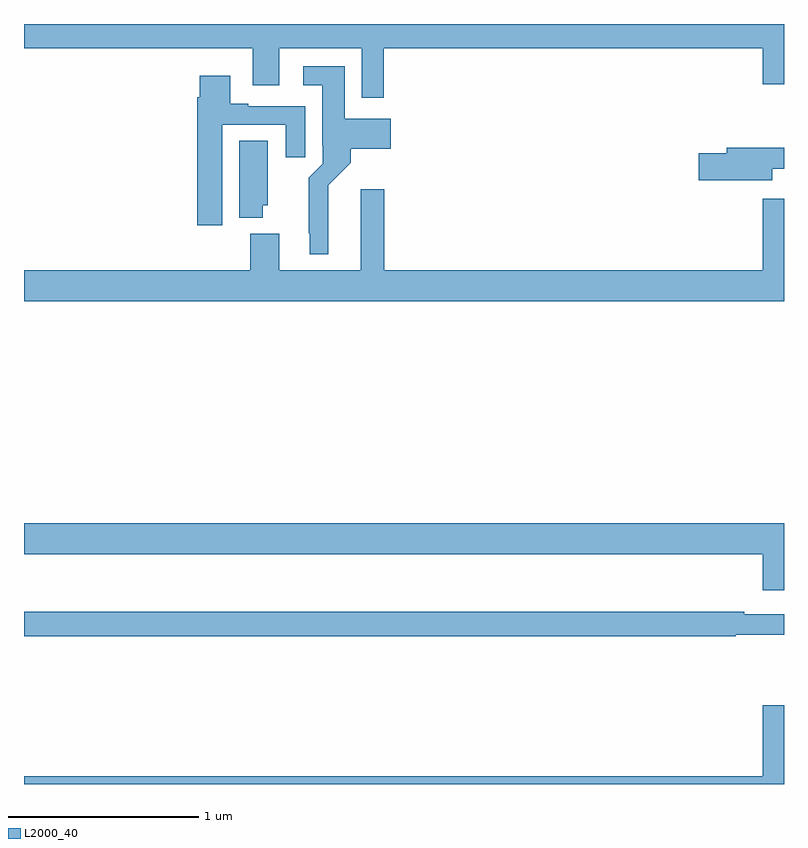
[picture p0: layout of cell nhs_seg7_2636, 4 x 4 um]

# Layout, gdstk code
import gdstk
lib = gdstk.Library(unit=1e-6, precision=1e-09)
def P(c, l, *ps):  # polygons
    for p in ps: c.add(gdstk.Polygon(p, *l))
L2000_40 = (2000, 40)

nhs_seg7_2636 = lib.new_cell('nhs_seg7_2636')
P(nhs_seg7_2636, L2000_40, [(282.893,1077.872),(284.888,1077.872),(284.888,1077.684),(285,1077.684),(285,1078),(281,1078),(281,1077.872),(282.203,1077.872),(282.203,1077.678),(282.343,1077.678),(282.343,1077.872),(282.777,1077.872),(282.777,1077.612),(282.893,1077.612)],
  [(282.601,1077.152),(282.719,1077.27),(282.719,1077.344),(282.931,1077.344),(282.931,1077.502),(282.688,1077.502),(282.688,1077.778),(282.471,1077.778),(282.471,1077.677),(282.569,1077.677),(282.569,1077.358),(282.573,1077.358),(282.573,1077.264),(282.499,1077.19),(282.499,1076.899),(282.503,1076.899),(282.503,1076.789),(282.601,1076.789)],
  [(282.043,1077.471),(282.377,1077.471),(282.377,1077.3),(282.481,1077.3),(282.481,1077.567),(282.181,1077.567),(282.181,1077.58),(282.085,1077.58),(282.085,1077.727),(281.924,1077.727),(281.924,1077.614),(281.912,1077.614),(281.912,1076.94),(282.043,1076.94)],
  [(282.256,1077.045),(282.283,1077.045),(282.283,1077.386),(282.134,1077.386),(282.134,1076.981),(282.256,1076.981)],
  [(284.938,1077.239),(285,1077.239),(285,1077.349),(284.699,1077.349),(284.699,1077.32),(284.55,1077.32),(284.55,1077.178),(284.938,1077.178)],
  [(285,1077.079),(284.888,1077.079),(284.888,1076.704),(282.896,1076.704),(282.896,1077.13),(282.773,1077.13),(282.773,1076.704),(282.343,1076.704),(282.343,1076.896),(282.191,1076.896),(282.191,1076.704),(281,1076.704),(281,1076.54),(285,1076.54)],
  [(285,1075.372),(281,1075.372),(281,1075.208),(284.888,1075.208),(284.888,1075.02),(285,1075.02)],
  [(284.746,1074.786),(285,1074.786),(285,1074.894),(284.792,1074.894),(284.792,1074.907),(281,1074.907),(281,1074.778),(284.746,1074.778)],
  [(285,1074.415),(284.888,1074.415),(284.888,1074.04),(281,1074.04),(281,1074),(285,1074)])

lib.write_gds('nhs_seg7_2636.gds')
